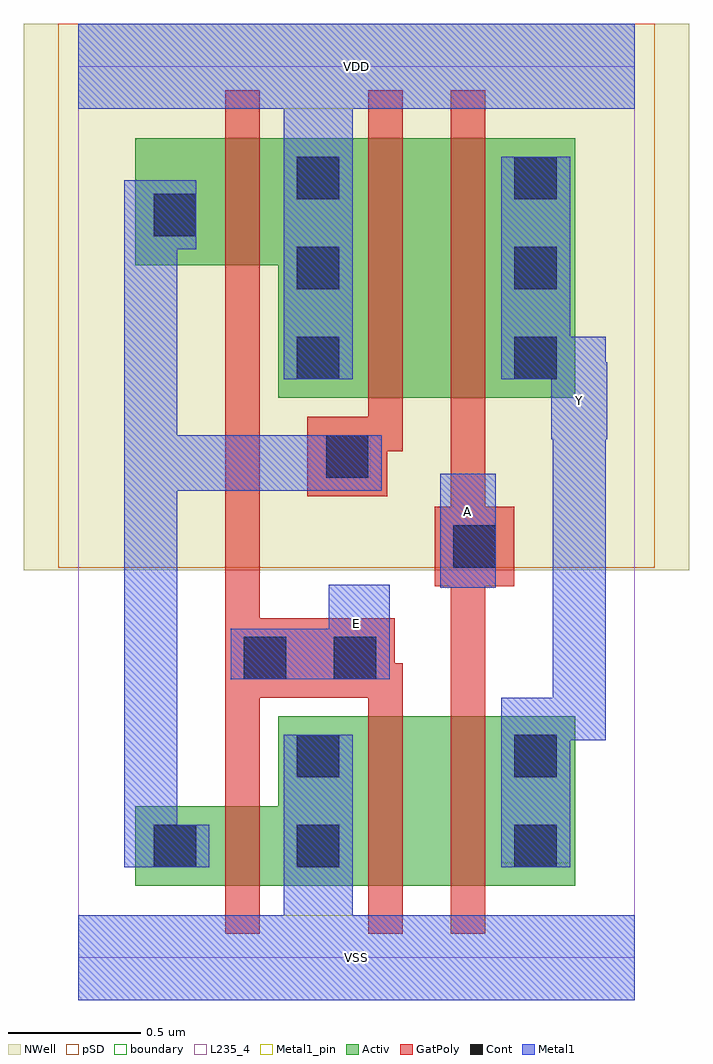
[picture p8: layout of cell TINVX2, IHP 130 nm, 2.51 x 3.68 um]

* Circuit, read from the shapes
.subckt TINVX2 A E VDD VSS Y
XM1 VSS E n1 VSUBS sg13_lv_nmos w=0.3u l=0.13u
XM2 n2 E VSS VSUBS sg13_lv_nmos w=0.64u l=0.13u
XM3 Y A n2 VSUBS sg13_lv_nmos w=0.64u l=0.13u
XM4 VDD E n1 n3 sg13_lv_pmos w=0.48u l=0.13u
XM5 n4 n1 VDD n3 sg13_lv_pmos w=0.98u l=0.13u
XM6 Y A n4 n3 sg13_lv_pmos w=0.98u l=0.13u
.ends

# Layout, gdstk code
import gdstk
lib = gdstk.Library(unit=1e-6, precision=1e-09)
def R(c, l, rs):  # rectangles x0, y0, x1, y1
    for r in rs: c.add(gdstk.rectangle(r[:2], r[2:], *l))
def A(c, l, x, y, w, h, nx, ny, dx, dy):  # array of equal rectangles
    R(c, l, [(x+i*dx, y+j*dy, x+i*dx+w, y+j*dy+h) for i in range(nx) for j in range(ny)])
def P(c, l, *ps):  # polygons
    for p in ps: c.add(gdstk.Polygon(p, *l))
Activ = (1, 0)
GatPoly = (5, 0)
Cont = (6, 0)
Metal1 = (8, 0)
Metal1_pin = (8, 2)
pSD = (14, 0)
NWell = (31, 0)
boundary = (189, 4)
L235_4 = (235, 4)

tinvx2 = lib.new_cell('TINVX2')
P(tinvx2, Activ, [(0.215,0.27),(0.215,0.57),(0.755,0.57),(0.755,0.91),(1.875,0.91),(1.875,0.27)],
  [(0.755,2.11),(0.755,2.61),(0.215,2.61),(0.215,3.09),(1.875,3.09),(1.875,2.11)])
P(tinvx2, GatPoly, [(1.405,0.09),(1.405,1.4),(1.345,1.4),(1.345,1.7),(1.405,1.7),(1.405,3.27),(1.535,3.27),(1.535,1.7),(1.645,1.7),(1.645,1.4),(1.535,1.4),(1.535,0.09)],
  [(0.555,0.09),(0.555,3.27),(0.685,3.27),(0.685,1.28),(1.195,1.28),(1.195,1.11),(1.225,1.11),(1.225,0.09),(1.095,0.09),(1.095,0.98),(0.685,0.98),(0.685,0.09)],
  [(0.865,1.74),(0.865,2.04),(1.095,2.04),(1.095,3.27),(1.225,3.27),(1.225,1.91),(1.165,1.91),(1.165,1.74)])
A(tinvx2, Cont, 0.825, 2.18, 0.16, 0.16, 1, 3, 0, 0.34)
A(tinvx2, Cont, 1.645, 2.18, 0.16, 0.16, 1, 3, 0, 0.34)
R(tinvx2, Cont, [(0.285,0.34,0.445,0.5), (0.825,0.34,0.985,0.5), (1.645,0.34,1.805,0.5), (0.825,0.68,0.985,0.84), (1.645,0.68,1.805,0.84), (0.625,1.05,0.785,1.21), (0.965,1.05,1.125,1.21), (1.415,1.47,1.575,1.63), (0.935,1.81,1.095,1.97), (0.285,2.72,0.445,2.88)])
R(tinvx2, Metal1, [(1.365,1.395,1.575,1.825)])
P(tinvx2, Metal1, [(0,-0.16),(0,0.16),(0.775,0.16),(0.775,0.84),(1.035,0.84),(1.035,0.16),(2.1,0.16),(2.1,-0.16)],
  [(0.775,2.18),(0.775,3.2),(0,3.2),(0,3.52),(2.1,3.52),(2.1,3.2),(1.035,3.2),(1.035,2.18)],
  [(1.595,0.34),(1.595,0.98),(1.79,0.98),(1.79,1.955),(1.785,1.955),(1.785,2.18),(1.595,2.18),(1.595,3.02),(1.855,3.02),(1.855,2.34),(1.99,2.34),(1.99,2.245),(1.995,2.245),(1.995,1.955),(1.99,1.955),(1.99,0.82),(1.855,0.82),(1.855,0.34)],
  [(0.575,1.05),(0.575,1.24),(0.945,1.24),(0.945,1.405),(1.175,1.405),(1.175,1.05)],
  [(0.175,0.34),(0.175,2.93),(0.445,2.93),(0.445,2.67),(0.375,2.67),(0.375,1.97),(1.145,1.97),(1.145,1.76),(0.375,1.76),(0.375,0.5),(0.495,0.5),(0.495,0.34)])
R(tinvx2, Metal1_pin, [(0,-0.16,2.1,0.16), (1.365,1.395,1.575,1.825), (0,3.2,2.1,3.52)])
P(tinvx2, Metal1_pin, [(1.595,0.355),(1.595,0.98),(1.79,0.98),(1.79,1.955),(1.785,1.955),(1.785,2.18),(1.595,2.18),(1.595,3.02),(1.855,3.02),(1.855,2.34),(1.99,2.34),(1.99,2.245),(1.995,2.245),(1.995,1.955),(1.99,1.955),(1.99,0.82),(1.855,0.82),(1.855,0.355)],
  [(0.575,1.05),(0.575,1.24),(0.945,1.24),(0.945,1.405),(1.175,1.405),(1.175,1.05)])
R(tinvx2, pSD, [(-0.075,1.47,2.175,3.52)])
R(tinvx2, NWell, [(-0.205,1.46,2.305,3.52)])
R(tinvx2, boundary, [(0,0,2.1,3.36)])
R(tinvx2, L235_4, [(0,0,2.1,3.36)])
tinvx2.add(gdstk.Label('A', (1.47,1.68), layer=8, texttype=25))
tinvx2.add(gdstk.Label('VDD', (1.05,3.36), layer=8, texttype=25))
tinvx2.add(gdstk.Label('Y', (1.89,2.1), layer=8, texttype=25))
tinvx2.add(gdstk.Label('E', (1.05,1.26), layer=8, texttype=25))
tinvx2.add(gdstk.Label('VSS', (1.05,0), layer=8, texttype=25))

lib.write_gds('TINVX2.gds')
